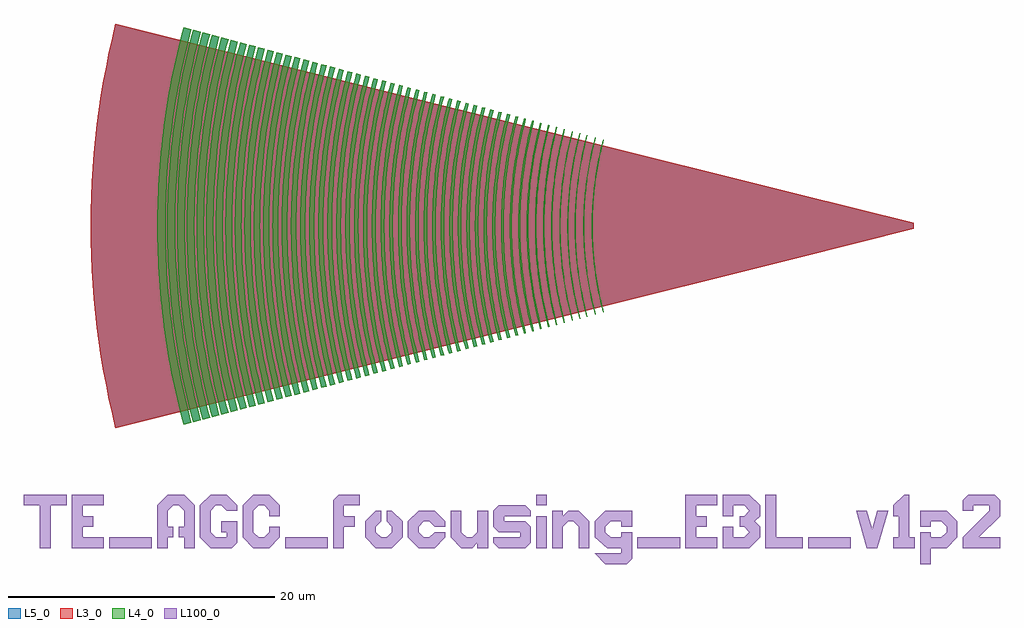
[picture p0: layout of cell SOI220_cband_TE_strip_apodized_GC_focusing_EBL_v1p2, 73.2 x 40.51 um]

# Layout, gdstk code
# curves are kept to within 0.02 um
import gdstk
lib = gdstk.Library(unit=1e-6, precision=1e-09)
def R(c, l, rs):  # rectangles x0, y0, x1, y1
    for r in rs: c.add(gdstk.rectangle(r[:2], r[2:], *l))
def P(c, l, *ps):  # polygons
    for p in ps: c.add(gdstk.Polygon(p, *l))
L3_0 = (3, 0)
L4_0 = (4, 0)
L5_0 = (5, 0)
L100_0 = (100, 0)

text_gdsfactorypcomponen = lib.new_cell('text_gdsfactorypcomponentsptextsptext_TTE_AGC_focusing__83cf41a3')
R(text_gdsfactorypcomponen, L100_0, [(6.8,0,10,0.8), (20,0,23.2,0.8), (38.8,0,39.6,2.4), (46.4,0,49.6,0.8), (59.2,0,62.4,0.8), (38.8,3.2,39.6,4)])
P(text_gdsfactorypcomponen, L100_0, [(26.8,0),(26,0.8),(26,2),(26.8,2.8),(27.2,2.8),(27.2,2),(26.8,1.6),(26.8,1.2),(27.2,0.8),(27.6,0.8),(28,1.2),(28,1.6),(27.6,2),(27.6,2.8),(28,2.8),(28.8,2),(28.8,0.8),(28,0)],
  [(30,0),(29.2,0.8),(29.2,2),(30,2.8),(31.2,2.8),(32,2),(32,1.6),(31.2,1.6),(30.8,2),(30.4,2),(30,1.6),(30,1.2),(30.4,0.8),(30.8,0.8),(31.2,1.2),(32,1.2),(32,0.8),(31.2,0)],
  [(33.2,0),(32.4,0.8),(32.4,2.8),(33.2,2.8),(33.2,1.2),(33.6,0.8),(34,0.8),(34.4,1.2),(34.4,2.8),(35.2,2.8),(35.2,0),(34.4,0),(34.4,0.4),(34,0)],
  [(40,0),(40,2.8),(40.8,2.8),(40.8,2.4),(41.2,2.8),(42,2.8),(42.8,2),(42.8,0),(42,0),(42,1.6),(41.6,2),(41.2,2),(40.8,1.6),(40.8,0)],
  [(44,-1.2),(43.2,-0.4),(45.2,-0.4),(45.2,0),(44.136,0),(43.2,0.8),(43.2,2),(44,2.8),(46,2.8),(46,1.6),(45.2,1.6),(45.2,2),(44.4,2),(44,1.6),(44,1.2),(44.4,0.8),(45.2,0.8),(45.2,1.2),(46,1.2),(46,-0.8),(45.6,-1.2)],
  [(63.6,0),(62.8,2.8),(63.6,2.8),(64,1.4),(64.4,2.8),(65.2,2.8),(64.4,0)],
  [(67.6,-1.2),(67.6,1.2),(68.4,1.2),(68.4,0.8),(69.2,0.8),(69.6,1.2),(69.6,1.6),(69.2,2),(68.4,2),(68.4,1.6),(67.6,1.6),(67.6,2.8),(69.6,2.8),(70.4,2),(70.4,0.8),(69.6,0),(68.4,0),(68.4,-1.2)],
  [(36,0),(35.6,0.4),(35.6,0.8),(37.6,0.8),(37.6,1.2),(36,1.2),(35.6,1.6),(35.6,2.8),(36,3.2),(38,3.2),(38.4,2.8),(38.4,2.4),(36.4,2.4),(36.4,2),(38,2),(38.4,1.6),(38.4,0.4),(38,0)],
  [(1.6,0),(1.6,3.2),(0.4,3.2),(0.4,4),(3.6,4),(3.6,3.2),(2.4,3.2),(2.4,0)],
  [(4,0),(4,4),(6.4,4),(6.4,3.2),(4.8,3.2),(4.8,2.4),(5.6,2.4),(5.6,1.6),(4.8,1.6),(4.8,0.8),(6.4,0.8),(6.4,0)],
  [(10.396,0),(10.4,3.2),(11.2,4),(12.404,4),(13.2,3.2),(13.2,0),(12.404,0),(12.404,0.8),(12,0.8),(12,1.6),(12.404,1.6),(12.404,2.8),(12,3.2),(11.6,3.2),(11.2,2.8),(11.2,1.6),(11.6,1.6),(11.6,0.8),(11.2,0.8),(11.2,0)],
  [(14.4,0),(13.6,0.8),(13.6,3.2),(14.4,4),(15.6,4),(16.4,3.2),(16.4,2.8),(15.6,2.8),(15.2,3.2),(14.8,3.2),(14.4,2.8),(14.4,1.2),(14.8,0.8),(15.6,0.8),(15.6,1.2),(15.2,1.2),(15.2,2),(16.4,2),(16.4,0.4),(16,0)],
  [(17.6,0),(16.8,0.8),(16.8,3.2),(17.6,4),(18.8,4),(19.6,3.2),(19.6,2.4),(18.8,2.4),(18.8,2.8),(18.4,3.2),(18,3.2),(17.6,2.8),(17.6,1.2),(18,0.8),(18.4,0.8),(18.8,1.2),(18.8,1.6),(19.6,1.6),(19.6,0.8),(18.8,0)],
  [(23.6,0),(23.6,3.6),(24,4),(25.6,4),(25.6,3.2),(24.4,3.2),(24.4,2.4),(25.2,2.4),(25.2,1.6),(24.4,1.6),(24.4,0)],
  [(50,0),(50,4),(52.4,4),(52.4,3.2),(50.8,3.2),(50.8,2.4),(51.6,2.4),(51.6,1.6),(50.8,1.6),(50.8,0.8),(52.4,0.8),(52.4,0)],
  [(52.8,0),(52.8,1.6),(53.6,1.6),(53.6,0.8),(54.4,0.8),(54.8,1.2),(54.4,1.6),(54.08,1.6),(54.08,2.4),(54.4,2.4),(54.8,2.8),(54.4,3.2),(53.6,3.2),(53.6,2.4),(52.8,2.4),(52.8,4),(54.8,4),(55.6,3.2),(55.6,2.4),(55.2,2),(55.6,1.6),(55.6,0.8),(54.8,0)],
  [(56,0),(56,4),(56.8,4),(56.8,0.8),(58.8,0.8),(58.8,0)],
  [(65.6,0),(65.6,0.8),(66,0.8),(66,2.4),(65.6,2.4),(65.6,3.2),(66.4,4),(66.8,4),(66.8,0.8),(67.2,0.8),(67.2,0)],
  [(70.8,0),(70.8,0.8),(72.8,2.8),(72.8,3.2),(71.6,3.2),(71.6,2.8),(70.8,2.8),(70.8,3.6),(71.2,4),(73.2,4),(73.6,3.6),(73.6,2.4),(72,0.8),(73.6,0.8),(73.6,0)])

soi220_cband_te_strip_ap = lib.new_cell('SOI220_cband_TE_strip_apodized_GC_focusing_EBL_v1p2')
P(soi220_cband_te_strip_ap, L3_0, [(-59.878,-15.154),(-60.588,-11.952),(-60.968,-9.799),(-61.272,-7.634),(-61.501,-5.46),(-61.653,-3.278),(-61.739,0),(-61.653,3.278),(-61.501,5.46),(-61.272,7.634),(-60.968,9.799),(-60.588,11.952),(-59.878,15.154),(0,0.225),(0,-0.225)])
P(soi220_cband_te_strip_ap, L4_0, [(-23.304,-6.485),(-23.515,-5.637),(-23.698,-4.781),(-23.849,-3.92),(-23.972,-3.054),(-24.063,-2.184),(-24.111,-1.53),(-24.143,-0.874),(-24.158,0),(-24.143,0.874),(-24.111,1.53),(-24.063,2.184),(-23.972,3.054),(-23.849,3.92),(-23.698,4.781),(-23.515,5.637),(-23.304,6.485),(-23.246,6.47),(-23.457,5.624),(-23.639,4.77),(-23.79,3.911),(-23.912,3.047),(-24.003,2.179),(-24.051,1.526),(-24.083,0.872),(-24.098,0),(-24.083,-0.872),(-24.051,-1.526),(-24.003,-2.179),(-23.912,-3.047),(-23.79,-3.911),(-23.639,-4.77),(-23.457,-5.624),(-23.246,-6.47)],
  [(-23.914,-6.649),(-24.13,-5.779),(-24.317,-4.903),(-24.472,-4.019),(-24.569,-3.354),(-24.649,-2.685),(-24.727,-1.792),(-24.773,-0.897),(-24.789,0),(-24.773,0.897),(-24.727,1.792),(-24.649,2.685),(-24.569,3.354),(-24.472,4.019),(-24.317,4.903),(-24.13,5.779),(-23.914,6.649),(-23.856,6.634),(-24.072,5.766),(-24.258,4.891),(-24.413,4.01),(-24.538,3.124),(-24.611,2.457),(-24.681,1.565),(-24.72,0.671),(-24.729,0),(-24.72,-0.671),(-24.681,-1.565),(-24.611,-2.457),(-24.538,-3.124),(-24.413,-4.01),(-24.258,-4.891),(-24.072,-5.766),(-23.856,-6.634)],
  [(-24.535,-6.815),(-24.704,-6.148),(-24.904,-5.25),(-25.071,-4.346),(-25.206,-3.437),(-25.288,-2.752),(-25.368,-1.837),(-25.416,-0.919),(-25.432,0),(-25.416,0.919),(-25.368,1.837),(-25.288,2.752),(-25.206,3.437),(-25.071,4.346),(-24.904,5.25),(-24.704,6.148),(-24.535,6.815),(-24.477,6.8),(-24.699,5.91),(-24.889,5.013),(-25.049,4.11),(-25.176,3.202),(-25.272,2.29),(-25.323,1.604),(-25.363,0.688),(-25.372,0),(-25.363,-0.688),(-25.323,-1.604),(-25.272,-2.29),(-25.176,-3.202),(-25.049,-4.11),(-24.889,-5.013),(-24.699,-5.91),(-24.477,-6.8)],
  [(-25.068,-6.958),(-25.347,-5.819),(-25.49,-5.131),(-25.653,-4.206),(-25.784,-3.276),(-25.882,-2.343),(-25.934,-1.642),(-25.968,-0.938),(-25.984,0),(-25.968,0.938),(-25.934,1.642),(-25.882,2.343),(-25.784,3.276),(-25.653,4.206),(-25.49,5.131),(-25.347,5.819),(-25.068,6.958),(-25.01,6.943),(-25.236,6.035),(-25.431,5.119),(-25.594,4.197),(-25.724,3.269),(-25.822,2.338),(-25.874,1.638),(-25.908,0.936),(-25.924,0),(-25.908,-0.936),(-25.874,-1.638),(-25.822,-2.338),(-25.724,-3.269),(-25.594,-4.197),(-25.431,-5.119),(-25.236,-6.035),(-25.01,-6.943)],
  [(-25.63,-7.109),(-25.807,-6.412),(-26.015,-5.476),(-26.189,-4.534),(-26.331,-3.585),(-26.44,-2.633),(-26.515,-1.677),(-26.557,-0.719),(-26.566,0),(-26.557,0.719),(-26.515,1.677),(-26.44,2.633),(-26.331,3.585),(-26.189,4.534),(-26.015,5.476),(-25.807,6.412),(-25.63,7.109),(-25.572,7.094),(-25.804,6.165),(-26.002,5.23),(-26.169,4.288),(-26.302,3.34),(-26.402,2.389),(-26.455,1.673),(-26.497,0.717),(-26.506,0),(-26.497,-0.717),(-26.455,-1.673),(-26.402,-2.389),(-26.302,-3.34),(-26.169,-4.288),(-26.002,-5.23),(-25.804,-6.165),(-25.572,-7.094)],
  [(-26.24,-7.272),(-26.477,-6.321),(-26.681,-5.362),(-26.812,-4.638),(-26.956,-3.667),(-27.068,-2.693),(-27.129,-1.96),(-27.18,-0.981),(-27.197,0),(-27.18,0.981),(-27.129,1.96),(-27.068,2.693),(-26.956,3.667),(-26.812,4.638),(-26.681,5.362),(-26.477,6.321),(-26.24,7.272),(-26.17,7.254),(-26.407,6.305),(-26.61,5.348),(-26.78,4.384),(-26.916,3.416),(-26.996,2.686),(-27.073,1.711),(-27.108,0.978),(-27.125,0),(-27.108,-0.978),(-27.073,-1.711),(-26.996,-2.686),(-26.916,-3.416),(-26.78,-4.384),(-26.61,-5.348),(-26.407,-6.305),(-26.17,-7.254)],
  [(-26.826,-7.429),(-27.069,-6.457),(-27.228,-5.723),(-27.411,-4.738),(-27.558,-3.747),(-27.672,-2.752),(-27.751,-1.753),(-27.787,-1.002),(-27.804,0),(-27.787,1.002),(-27.751,1.753),(-27.672,2.752),(-27.558,3.747),(-27.411,4.738),(-27.228,5.723),(-27.069,6.457),(-26.826,7.429),(-26.74,7.407),(-26.982,6.437),(-27.189,5.46),(-27.363,4.477),(-27.502,3.488),(-27.606,2.494),(-27.662,1.747),(-27.698,0.999),(-27.715,0),(-27.698,-0.999),(-27.662,-1.747),(-27.606,-2.494),(-27.502,-3.488),(-27.363,-4.477),(-27.189,-5.46),(-26.982,-6.437),(-26.74,-7.407)],
  [(-27.414,-7.587),(-27.662,-6.594),(-27.824,-5.845),(-28.011,-4.839),(-28.162,-3.826),(-28.278,-2.81),(-28.342,-2.045),(-28.395,-1.023),(-28.413,0),(-28.395,1.023),(-28.342,2.045),(-28.278,2.81),(-28.162,3.826),(-28.011,4.839),(-27.824,5.845),(-27.662,6.594),(-27.414,7.587),(-27.322,7.563),(-27.569,6.573),(-27.781,5.575),(-27.958,4.571),(-28.1,3.561),(-28.207,2.547),(-28.263,1.784),(-28.308,0.765),(-28.318,0),(-28.308,-0.765),(-28.263,-1.784),(-28.207,-2.547),(-28.1,-3.561),(-27.958,-4.571),(-27.781,-5.575),(-27.569,-6.573),(-27.322,-7.563)],
  [(-28.016,-7.748),(-28.209,-6.989),(-28.435,-5.969),(-28.625,-4.941),(-28.78,-3.908),(-28.872,-3.13),(-28.963,-2.088),(-29.018,-1.045),(-29.036,0),(-29.018,1.045),(-28.963,2.088),(-28.872,3.13),(-28.78,3.908),(-28.625,4.941),(-28.435,5.969),(-28.209,6.989),(-28.016,7.748),(-27.899,7.717),(-28.151,6.707),(-28.367,5.689),(-28.548,4.664),(-28.693,3.634),(-28.802,2.599),(-28.859,1.82),(-28.897,1.041),(-28.915,0),(-28.905,-0.781),(-28.859,-1.82),(-28.802,-2.599),(-28.693,-3.634),(-28.548,-4.664),(-28.367,-5.689),(-28.151,-6.707),(-27.899,-7.717)],
  [(-28.622,-7.911),(-28.88,-6.876),(-29.103,-5.832),(-29.403,-3.99),(-29.59,-2.132),(-29.645,-1.067),(-29.664,0),(-29.645,1.067),(-29.59,2.132),(-29.403,3.99),(-29.103,5.832),(-28.88,6.876),(-28.622,7.911),(-28.491,7.876),(-28.748,6.845),(-28.969,5.806),(-29.194,4.498),(-29.332,3.445),(-29.471,1.858),(-29.518,0.797),(-29.528,0),(-29.518,-0.797),(-29.471,-1.858),(-29.332,-3.445),(-29.194,-4.498),(-28.969,-5.806),(-28.748,-6.845),(-28.491,-7.876)],
  [(-29.239,-8.076),(-29.676,-6.221),(-29.874,-5.151),(-30.035,-4.073),(-30.158,-2.99),(-30.244,-1.905),(-30.302,0),(-30.244,1.905),(-30.158,2.99),(-30.035,4.073),(-29.874,5.151),(-29.676,6.221),(-29.239,8.076),(-29.095,8.038),(-29.417,6.722),(-29.633,5.659),(-29.812,4.59),(-29.953,3.516),(-30.095,1.896),(-30.153,0),(-30.095,-1.896),(-29.953,-3.516),(-29.812,-4.59),(-29.633,-5.659),(-29.417,-6.722),(-29.095,-8.038)],
  [(-29.867,-8.243),(-30.135,-7.166),(-30.367,-6.078),(-30.679,-4.157),(-30.875,-2.222),(-30.933,-1.111),(-30.952,0),(-30.933,1.111),(-30.875,2.222),(-30.679,4.157),(-30.367,6.078),(-30.135,7.166),(-29.867,8.243),(-29.686,8.196),(-29.953,7.124),(-30.235,5.771),(-30.457,4.407),(-30.592,3.31),(-30.722,1.657),(-30.765,0),(-30.722,-1.657),(-30.592,-3.31),(-30.457,-4.407),(-30.235,-5.771),(-29.953,-7.124),(-29.686,-8.196)],
  [(-30.511,-8.416),(-31.022,-6.205),(-31.341,-4.245),(-31.559,-1.985),(-31.619,0),(-31.559,1.985),(-31.341,4.245),(-31.022,6.205),(-30.511,8.416),(-30.287,8.357),(-30.794,6.161),(-31.111,4.215),(-31.327,1.971),(-31.387,0),(-31.327,-1.971),(-31.111,-4.215),(-30.794,-6.161),(-30.287,-8.357)],
  [(-31.137,-8.584),(-31.601,-6.612),(-31.812,-5.474),(-31.983,-4.33),(-32.206,-2.025),(-32.267,0),(-32.206,2.025),(-31.983,4.33),(-31.812,5.474),(-31.601,6.612),(-31.137,8.584),(-30.901,8.522),(-31.362,6.564),(-31.741,4.298),(-31.962,2.01),(-32.023,0),(-31.962,-2.01),(-31.741,-4.298),(-31.362,-6.564),(-30.901,-8.522)],
  [(-31.763,-8.752),(-32.237,-6.742),(-32.452,-5.582),(-32.627,-4.414),(-32.76,-3.242),(-32.853,-2.065),(-32.916,0),(-32.853,2.065),(-32.76,3.242),(-32.627,4.414),(-32.452,5.582),(-32.237,6.742),(-31.763,8.752),(-31.514,8.686),(-31.984,6.691),(-32.198,5.539),(-32.371,4.38),(-32.576,2.341),(-32.638,1.171),(-32.658,0),(-32.638,-1.171),(-32.576,-2.341),(-32.371,-4.38),(-32.198,-5.539),(-31.984,-6.691),(-31.514,-8.686)],
  [(-32.382,-8.917),(-32.864,-6.87),(-33.084,-5.687),(-33.261,-4.498),(-33.398,-3.303),(-33.492,-2.103),(-33.556,0),(-33.492,2.103),(-33.398,3.303),(-33.261,4.498),(-33.084,5.687),(-32.864,6.87),(-32.382,8.917),(-32.141,8.854),(-32.62,6.82),(-32.838,5.646),(-33.014,4.465),(-33.224,2.386),(-33.286,1.194),(-33.307,0),(-33.286,-1.194),(-33.224,-2.386),(-33.014,-4.465),(-32.838,-5.646),(-32.62,-6.82),(-32.141,-8.854)],
  [(-33,-9.083),(-33.297,-7.896),(-33.551,-6.697),(-33.896,-4.581),(-34.035,-3.364),(-34.131,-2.143),(-34.196,0),(-34.131,2.143),(-34.035,3.364),(-33.896,4.581),(-33.551,6.697),(-33.297,7.896),(-33,9.083),(-32.761,9.02),(-33.056,7.84),(-33.309,6.65),(-33.651,4.549),(-33.789,3.34),(-33.884,2.128),(-33.949,0),(-33.884,-2.128),(-33.789,-3.34),(-33.651,-4.549),(-33.309,-6.65),(-33.056,-7.84),(-32.761,-9.02)],
  [(-33.621,-9.249),(-34.121,-7.125),(-34.348,-5.899),(-34.532,-4.665),(-34.674,-3.425),(-34.772,-2.181),(-34.838,0),(-34.772,2.181),(-34.674,3.425),(-34.532,4.665),(-34.348,5.899),(-34.121,7.125),(-33.621,9.249),(-33.376,9.185),(-33.873,7.075),(-34.098,5.857),(-34.281,4.632),(-34.499,2.475),(-34.563,1.238),(-34.585,0),(-34.563,-1.238),(-34.499,-2.475),(-34.281,-4.632),(-34.098,-5.857),(-33.873,-7.075),(-33.376,-9.185)],
  [(-34.237,-9.414),(-34.544,-8.183),(-34.808,-6.942),(-35.165,-4.748),(-35.309,-3.487),(-35.409,-2.221),(-35.476,0),(-35.409,2.221),(-35.309,3.487),(-35.165,4.748),(-34.808,6.942),(-34.544,8.183),(-34.237,9.414),(-34,9.352),(-34.506,7.204),(-34.735,5.964),(-34.922,4.716),(-35.065,3.463),(-35.164,2.206),(-35.231,0),(-35.164,-2.206),(-35.065,-3.463),(-34.922,-4.716),(-34.735,-5.964),(-34.506,-7.204),(-34,-9.352)],
  [(-34.857,-9.58),(-35.375,-7.38),(-35.611,-6.11),(-35.801,-4.832),(-35.948,-3.548),(-36.049,-2.261),(-36.118,0),(-36.049,2.261),(-35.948,3.548),(-35.801,4.832),(-35.611,6.11),(-35.375,7.38),(-34.857,9.58),(-34.613,9.516),(-35.128,7.33),(-35.362,6.068),(-35.551,4.799),(-35.776,2.565),(-35.844,1.283),(-35.866,0),(-35.844,-1.283),(-35.776,-2.565),(-35.551,-4.799),(-35.362,-6.068),(-35.128,-7.33),(-34.613,-9.516)],
  [(-35.473,-9.745),(-36,-7.508),(-36.24,-6.215),(-36.434,-4.915),(-36.583,-3.61),(-36.686,-2.299),(-36.756,0),(-36.686,2.299),(-36.583,3.61),(-36.434,4.915),(-36.24,6.215),(-36,7.508),(-35.473,9.745),(-35.236,9.683),(-35.552,8.416),(-35.824,7.139),(-36.191,4.883),(-36.42,2.61),(-36.488,1.306),(-36.511,0),(-36.488,-1.306),(-36.42,-2.61),(-36.191,-4.883),(-35.824,-7.139),(-35.552,-8.416),(-35.236,-9.683)],
  [(-36.093,-9.912),(-36.629,-7.636),(-36.873,-6.321),(-37.07,-4.999),(-37.222,-3.67),(-37.327,-2.338),(-37.398,0),(-37.327,2.338),(-37.222,3.67),(-37.07,4.999),(-36.873,6.321),(-36.629,7.636),(-36.093,9.912),(-35.853,9.849),(-36.175,8.56),(-36.451,7.261),(-36.824,4.967),(-36.975,3.647),(-37.079,2.323),(-37.15,0),(-37.079,-2.323),(-36.975,-3.647),(-36.824,-4.967),(-36.451,-7.261),(-36.175,-8.56),(-35.853,-9.849)],
  [(-36.711,-10.077),(-37.04,-8.759),(-37.323,-7.43),(-37.705,-5.083),(-37.859,-3.732),(-37.966,-2.378),(-38.038,0),(-37.966,2.378),(-37.859,3.732),(-37.705,5.083),(-37.323,7.43),(-37.04,8.759),(-36.711,10.077),(-36.478,10.016),(-36.805,8.705),(-37.086,7.384),(-37.466,5.051),(-37.703,2.7),(-37.773,1.351),(-37.797,0),(-37.773,-1.351),(-37.703,-2.7),(-37.466,-5.051),(-37.086,-7.384),(-36.805,-8.705),(-36.478,-10.016)],
  [(-37.337,-10.244),(-37.892,-7.892),(-38.143,-6.534),(-38.348,-5.167),(-38.504,-3.794),(-38.613,-2.417),(-38.686,0),(-38.613,2.417),(-38.504,3.794),(-38.348,5.167),(-38.143,6.534),(-37.892,7.892),(-37.337,10.244),(-37.084,10.178),(-37.635,7.84),(-37.885,6.491),(-38.088,5.133),(-38.243,3.769),(-38.351,2.401),(-38.424,0),(-38.351,-2.401),(-38.243,-3.769),(-38.088,-5.133),(-37.885,-6.491),(-37.635,-7.84),(-37.084,-10.178)],
  [(-37.965,-10.413),(-38.528,-8.022),(-38.784,-6.641),(-38.992,-5.252),(-39.151,-3.857),(-39.261,-2.457),(-39.336,0),(-39.261,2.457),(-39.151,3.857),(-38.992,5.252),(-38.784,6.641),(-38.528,8.022),(-37.965,10.413),(-37.714,10.347),(-38.273,7.97),(-38.528,6.598),(-38.734,5.218),(-38.979,2.789),(-39.052,1.395),(-39.076,0),(-39.052,-1.395),(-38.979,-2.789),(-38.734,-5.218),(-38.528,-6.598),(-38.273,-7.97),(-37.714,-10.347)],
  [(-38.595,-10.582),(-38.94,-9.198),(-39.237,-7.803),(-39.639,-5.337),(-39.888,-2.852),(-39.963,-1.427),(-39.988,0),(-39.963,1.427),(-39.888,2.852),(-39.639,5.337),(-39.237,7.803),(-38.94,9.198),(-38.595,10.582),(-38.323,10.51),(-38.892,8.096),(-39.15,6.702),(-39.36,5.301),(-39.608,2.833),(-39.682,1.417),(-39.707,0),(-39.682,-1.417),(-39.608,-2.833),(-39.36,-5.301),(-39.15,-6.702),(-38.892,-8.096),(-38.323,-10.51)],
  [(-39.231,-10.753),(-39.583,-9.346),(-39.884,-7.928),(-40.292,-5.423),(-40.456,-3.982),(-40.569,-2.537),(-40.647,0),(-40.569,2.537),(-40.456,3.982),(-40.292,5.423),(-39.884,7.928),(-39.583,9.346),(-39.231,10.753),(-38.951,10.679),(-39.529,8.226),(-39.791,6.81),(-40.004,5.385),(-40.167,3.954),(-40.28,2.519),(-40.357,0),(-40.28,-2.519),(-40.167,-3.954),(-40.004,-5.385),(-39.791,-6.81),(-39.529,-8.226),(-38.951,-10.679)],
  [(-39.869,-10.923),(-40.46,-8.415),(-40.728,-6.966),(-40.945,-5.51),(-41.113,-4.046),(-41.204,-2.944),(-41.281,-1.473),(-41.307,0),(-41.281,1.473),(-41.204,2.944),(-41.113,4.046),(-40.945,5.51),(-40.728,6.966),(-40.46,8.415),(-39.869,10.923),(-39.576,10.846),(-40.163,8.355),(-40.429,6.916),(-40.645,5.47),(-40.811,4.017),(-40.926,2.558),(-41.004,0),(-40.926,-2.558),(-40.811,-4.017),(-40.645,-5.47),(-40.429,-6.916),(-40.163,-8.355),(-39.576,-10.846)],
  [(-40.512,-11.095),(-41.112,-8.548),(-41.384,-7.076),(-41.605,-5.596),(-41.775,-4.109),(-41.892,-2.618),(-41.972,0),(-41.892,2.618),(-41.775,4.109),(-41.605,5.596),(-41.384,7.076),(-41.112,8.548),(-40.512,11.095),(-40.206,11.015),(-40.802,8.485),(-41.072,7.024),(-41.292,5.555),(-41.46,4.079),(-41.577,2.598),(-41.656,0),(-41.577,-2.598),(-41.46,-4.079),(-41.292,-5.555),(-41.072,-7.024),(-40.802,-8.485),(-40.206,-11.015)],
  [(-41.157,-11.268),(-41.524,-9.795),(-41.84,-8.309),(-42.104,-6.811),(-42.267,-5.684),(-42.534,-3.037),(-42.614,-1.519),(-42.64,0),(-42.614,1.519),(-42.534,3.037),(-42.267,5.684),(-42.104,6.811),(-41.84,8.309),(-41.524,9.795),(-41.157,11.268),(-40.84,11.185),(-41.204,9.721),(-41.518,8.246),(-41.942,5.641),(-42.207,3.014),(-42.286,1.508),(-42.312,0),(-42.286,-1.508),(-42.207,-3.014),(-41.942,-5.641),(-41.518,-8.246),(-41.204,-9.721),(-40.84,-11.185)],
  [(-41.805,-11.442),(-42.178,-9.946),(-42.499,-8.436),(-42.767,-6.916),(-42.933,-5.771),(-43.069,-4.622),(-43.203,-3.084),(-43.284,-1.543),(-43.311,0),(-43.284,1.543),(-43.203,3.084),(-43.069,4.622),(-42.933,5.771),(-42.767,6.916),(-42.499,8.436),(-42.178,9.946),(-41.805,11.442),(-41.475,11.355),(-41.846,9.869),(-42.164,8.371),(-42.43,6.863),(-42.595,5.726),(-42.73,4.586),(-42.863,3.06),(-42.943,1.531),(-42.97,0),(-42.943,-1.531),(-42.863,-3.06),(-42.73,-4.586),(-42.595,-5.726),(-42.43,-6.863),(-42.164,-8.371),(-41.846,-9.869),(-41.475,-11.355)],
  [(-42.456,-11.616),(-42.835,-10.097),(-43.161,-8.564),(-43.433,-7.022),(-43.601,-5.859),(-43.739,-4.692),(-43.876,-3.131),(-43.958,-1.566),(-43.985,0),(-43.958,1.566),(-43.876,3.131),(-43.739,4.692),(-43.601,5.859),(-43.433,7.022),(-43.161,8.564),(-42.835,10.097),(-42.456,11.616),(-42.114,11.526),(-42.49,10.018),(-42.813,8.497),(-43.083,6.966),(-43.25,5.813),(-43.387,4.655),(-43.523,3.106),(-43.604,1.554),(-43.631,0),(-43.604,-1.554),(-43.523,-3.106),(-43.387,-4.655),(-43.25,-5.813),(-43.083,-6.966),(-42.813,-8.497),(-42.49,-10.018),(-42.114,-11.526)],
  [(-43.11,-11.791),(-43.495,-10.25),(-43.748,-9.084),(-44.037,-7.521),(-44.272,-5.948),(-44.452,-4.367),(-44.551,-3.179),(-44.634,-1.59),(-44.662,0),(-44.634,1.59),(-44.551,3.179),(-44.452,4.367),(-44.272,5.948),(-44.037,7.521),(-43.748,9.084),(-43.495,10.25),(-43.11,11.791),(-42.756,11.698),(-43.138,10.167),(-43.466,8.624),(-43.74,7.071),(-43.909,5.9),(-44.088,4.332),(-44.212,2.759),(-44.281,1.183),(-44.296,0),(-44.281,-1.183),(-44.212,-2.759),(-44.088,-4.332),(-43.909,-5.9),(-43.74,-7.071),(-43.466,-8.624),(-43.138,-10.167),(-42.756,-11.698)],
  [(-43.767,-11.968),(-44.157,-10.403),(-44.493,-8.824),(-44.709,-7.632),(-44.948,-6.036),(-45.09,-4.834),(-45.23,-3.225),(-45.315,-1.614),(-45.343,0),(-45.315,1.614),(-45.23,3.225),(-45.09,4.834),(-44.948,6.036),(-44.709,7.632),(-44.493,8.824),(-44.157,10.403),(-43.767,11.968),(-43.401,11.871),(-43.697,10.707),(-44.043,9.144),(-44.335,7.57),(-44.572,5.987),(-44.753,4.396),(-44.852,3.199),(-44.936,1.601),(-44.964,0),(-44.936,-1.601),(-44.852,-3.199),(-44.753,-4.396),(-44.572,-5.987),(-44.335,-7.57),(-44.043,-9.144),(-43.697,-10.707),(-43.401,-11.871)],
  [(-44.429,-12.146),(-44.825,-10.557),(-45.166,-8.955),(-45.385,-7.746),(-45.627,-6.125),(-45.812,-4.498),(-45.914,-3.273),(-46,-1.638),(-46.028,0),(-46,1.638),(-45.914,3.273),(-45.812,4.498),(-45.627,6.125),(-45.385,7.746),(-45.166,8.955),(-44.825,10.557),(-44.429,12.146),(-44.049,12.045),(-44.349,10.864),(-44.701,9.278),(-44.997,7.681),(-45.237,6.074),(-45.421,4.46),(-45.522,3.246),(-45.607,1.624),(-45.635,0),(-45.607,-1.624),(-45.522,-3.246),(-45.421,-4.46),(-45.237,-6.074),(-44.997,-7.681),(-44.701,-9.278),(-44.349,-10.864),(-44.049,-12.045)],
  [(-45.094,-12.323),(-45.496,-10.711),(-45.842,-9.085),(-46.13,-7.449),(-46.309,-6.215),(-46.497,-4.564),(-46.6,-3.322),(-46.687,-1.662),(-46.716,0),(-46.687,1.662),(-46.6,3.322),(-46.497,4.564),(-46.309,6.215),(-46.13,7.449),(-45.842,9.085),(-45.496,10.711),(-45.094,12.323),(-44.701,12.219),(-45.1,10.62),(-45.443,9.008),(-45.663,7.792),(-45.906,6.162),(-46.093,4.525),(-46.222,2.882),(-46.294,1.236),(-46.31,0),(-46.294,-1.236),(-46.222,-2.882),(-46.093,-4.525),(-45.906,-6.162),(-45.663,-7.792),(-45.443,-9.008),(-45.1,-10.62),(-44.701,-12.219)],
  [(-45.761,-12.502),(-46.169,-10.867),(-46.438,-9.632),(-46.744,-7.973),(-46.993,-6.306),(-47.185,-4.63),(-47.317,-2.95),(-47.391,-1.265),(-47.407,0),(-47.391,1.265),(-47.317,2.95),(-47.185,4.63),(-46.993,6.306),(-46.744,7.973),(-46.438,9.632),(-46.169,10.867),(-45.761,12.502),(-45.356,12.395),(-45.761,10.773),(-46.027,9.548),(-46.331,7.904),(-46.578,6.251),(-46.768,4.59),(-46.899,2.924),(-46.972,1.254),(-46.988,0),(-46.972,-1.254),(-46.899,-2.924),(-46.768,-4.59),(-46.578,-6.251),(-46.331,-7.904),(-46.027,-9.548),(-45.761,-10.773),(-45.356,-12.395)],
  [(-46.433,-12.681),(-46.846,-11.024),(-47.202,-9.351),(-47.499,-7.665),(-47.682,-6.397),(-47.834,-5.122),(-47.983,-3.418),(-48.072,-1.71),(-48.102,0),(-48.072,1.71),(-47.983,3.418),(-47.834,5.122),(-47.682,6.397),(-47.499,7.665),(-47.202,9.351),(-46.846,11.024),(-46.433,12.681),(-46.014,12.571),(-46.424,10.926),(-46.777,9.268),(-47.003,8.017),(-47.253,6.34),(-47.403,5.077),(-47.551,3.388),(-47.639,1.695),(-47.669,0),(-47.639,-1.695),(-47.551,-3.388),(-47.403,-5.077),(-47.253,-6.34),(-47.003,-8.017),(-46.777,-9.268),(-46.424,-10.926),(-46.014,-12.571)],
  [(-47.107,-12.861),(-47.527,-11.18),(-47.887,-9.483),(-48.188,-7.775),(-48.375,-6.487),(-48.528,-5.196),(-48.679,-3.467),(-48.77,-1.735),(-48.8,0),(-48.77,1.735),(-48.679,3.467),(-48.528,5.196),(-48.375,6.487),(-48.188,7.775),(-47.887,9.483),(-47.527,11.18),(-47.107,12.861),(-46.675,12.748),(-47.091,11.08),(-47.448,9.398),(-47.747,7.705),(-47.932,6.429),(-48.083,5.149),(-48.233,3.436),(-48.323,1.719),(-48.353,0),(-48.323,-1.719),(-48.233,-3.436),(-48.083,-5.149),(-47.932,-6.429),(-47.747,-7.705),(-47.448,-9.398),(-47.091,-11.08),(-46.675,-12.748)],
  [(-47.785,-13.044),(-48.21,-11.339),(-48.49,-10.049),(-48.811,-8.319),(-49.071,-6.579),(-49.27,-4.831),(-49.408,-3.078),(-49.472,-1.759),(-49.502,0),(-49.472,1.759),(-49.408,3.078),(-49.27,4.831),(-49.071,6.579),(-48.811,8.319),(-48.49,10.049),(-48.21,11.339),(-47.785,13.044),(-47.339,12.926),(-47.761,11.235),(-48.123,9.53),(-48.356,8.243),(-48.614,6.519),(-48.811,4.787),(-48.948,3.049),(-49.011,1.743),(-49.041,0),(-49.011,-1.743),(-48.948,-3.049),(-48.811,-4.787),(-48.614,-6.519),(-48.356,-8.243),(-48.123,-9.53),(-47.761,-11.235),(-47.339,-12.926)],
  [(-48.467,-13.226),(-48.796,-11.931),(-49.182,-10.19),(-49.507,-8.436),(-49.771,-6.671),(-49.973,-4.898),(-50.084,-3.565),(-50.177,-1.784),(-50.208,0),(-50.177,1.784),(-50.084,3.565),(-49.973,4.898),(-49.771,6.671),(-49.507,8.436),(-49.182,10.19),(-48.796,11.931),(-48.467,13.226),(-48.007,13.105),(-48.333,11.82),(-48.716,10.095),(-49.038,8.357),(-49.299,6.609),(-49.499,4.853),(-49.638,3.091),(-49.715,1.325),(-49.732,0),(-49.715,-1.325),(-49.638,-3.091),(-49.499,-4.853),(-49.299,-6.609),(-49.038,-8.357),(-48.716,-10.095),(-48.333,-11.82),(-48.007,-13.105)],
  [(-49.153,-13.41),(-49.486,-12.098),(-49.878,-10.331),(-50.207,-8.553),(-50.475,-6.764),(-50.68,-4.967),(-50.792,-3.615),(-50.887,-1.808),(-50.918,0),(-50.887,1.808),(-50.792,3.615),(-50.68,4.967),(-50.475,6.764),(-50.207,8.553),(-49.878,10.331),(-49.486,12.098),(-49.153,13.41),(-48.678,13.285),(-49.009,11.983),(-49.397,10.233),(-49.723,8.472),(-49.988,6.7),(-50.191,4.92),(-50.302,3.581),(-50.396,1.791),(-50.427,0),(-50.396,-1.791),(-50.302,-3.581),(-50.191,-4.92),(-49.988,-6.7),(-49.723,-8.472),(-49.397,-10.233),(-49.009,-11.983),(-48.678,-13.285)],
  [(-49.841,-13.595),(-50.285,-11.818),(-50.577,-10.474),(-50.91,-8.67),(-51.182,-6.857),(-51.389,-5.035),(-51.533,-3.207),(-51.599,-1.834),(-51.631,0),(-51.599,1.834),(-51.533,3.207),(-51.389,5.035),(-51.182,6.857),(-50.91,8.67),(-50.577,10.474),(-50.285,11.818),(-49.841,13.595),(-49.353,13.466),(-49.793,11.704),(-50.082,10.373),(-50.412,8.587),(-50.681,6.791),(-50.886,4.987),(-51.029,3.176),(-51.108,1.362),(-51.126,0),(-51.108,-1.362),(-51.029,-3.176),(-50.886,-4.987),(-50.681,-6.791),(-50.412,-8.587),(-50.082,-10.373),(-49.793,-11.704),(-49.353,-13.466)],
  [(-50.534,-13.78),(-50.984,-11.979),(-51.279,-10.616),(-51.618,-8.789),(-51.893,-6.951),(-52.103,-5.104),(-52.219,-3.715),(-52.316,-1.858),(-52.348,0),(-52.316,1.858),(-52.219,3.715),(-52.103,5.104),(-51.893,6.951),(-51.618,8.789),(-51.279,10.616),(-50.984,11.979),(-50.534,13.78),(-50.031,13.648),(-50.477,11.862),(-50.859,10.061),(-51.105,8.703),(-51.377,6.883),(-51.539,5.512),(-51.7,3.678),(-51.796,1.84),(-51.828,0),(-51.796,-1.84),(-51.7,-3.678),(-51.539,-5.512),(-51.377,-6.883),(-51.179,-8.249),(-50.859,-10.061),(-50.477,-11.862),(-50.031,-13.648)],
  [(-51.231,-13.967),(-51.686,-12.14),(-52.078,-10.298),(-52.33,-8.907),(-52.608,-7.045),(-52.822,-5.174),(-52.939,-3.765),(-53.037,-1.884),(-53.07,0),(-53.037,1.884),(-52.939,3.765),(-52.822,5.174),(-52.608,7.045),(-52.33,8.907),(-52.078,10.298),(-51.686,12.14),(-51.231,13.967),(-50.713,13.83),(-51.164,12.02),(-51.552,10.196),(-51.876,8.359),(-52.077,6.975),(-52.288,5.122),(-52.404,3.728),(-52.501,1.865),(-52.534,0),(-52.501,-1.865),(-52.404,-3.728),(-52.288,-5.122),(-52.077,-6.975),(-51.876,-8.359),(-51.552,-10.196),(-51.164,-12.02),(-50.713,-13.83)],
  [(-51.932,-14.154),(-52.284,-12.768),(-52.697,-10.905),(-53.044,-9.028),(-53.327,-7.139),(-53.543,-5.243),(-53.662,-3.816),(-53.762,-1.909),(-53.795,0),(-53.762,1.909),(-53.662,3.816),(-53.543,5.243),(-53.327,7.139),(-53.044,9.028),(-52.697,10.905),(-52.284,12.768),(-51.932,14.154),(-51.399,14.014),(-51.748,12.64),(-52.157,10.795),(-52.501,8.937),(-52.781,7.067),(-52.995,5.19),(-53.143,3.306),(-53.211,1.89),(-53.244,0),(-53.211,-1.89),(-53.143,-3.306),(-52.995,-5.19),(-52.781,-7.067),(-52.501,-8.937),(-52.157,-10.795),(-51.748,-12.64),(-51.399,-14.014)],
  [(-52.637,-14.343),(-53.104,-12.469),(-53.413,-11.05),(-53.765,-9.149),(-54.051,-7.235),(-54.269,-5.312),(-54.422,-3.384),(-54.492,-1.935),(-54.525,0),(-54.492,1.935),(-54.422,3.384),(-54.269,5.312),(-54.051,7.235),(-53.765,9.149),(-53.413,11.05),(-53.104,12.469),(-52.637,14.343),(-52.089,14.199),(-52.552,12.341),(-52.857,10.937),(-53.206,9.055),(-53.489,7.161),(-53.705,5.258),(-53.856,3.349),(-53.925,1.915),(-53.958,0),(-53.925,-1.915),(-53.856,-3.349),(-53.705,-5.258),(-53.489,-7.161),(-53.206,-9.055),(-52.857,-10.937),(-52.552,-12.341),(-52.089,-14.199)],
  [(-53.346,-14.534),(-53.82,-12.634),(-54.227,-10.716),(-54.568,-8.785),(-54.779,-7.33),(-54.952,-5.87),(-55.123,-3.917),(-55.225,-1.96),(-55.259,0),(-55.225,1.96),(-55.123,3.917),(-54.952,5.87),(-54.779,7.33),(-54.568,8.785),(-54.227,10.716),(-53.82,12.634),(-53.346,14.534),(-52.782,14.385),(-53.252,12.502),(-53.655,10.605),(-53.914,9.173),(-54.201,7.254),(-54.372,5.809),(-54.541,3.877),(-54.642,1.94),(-54.676,0),(-54.642,-1.94),(-54.541,-3.877),(-54.372,-5.809),(-54.201,-7.254),(-53.914,-9.173),(-53.655,-10.605),(-53.252,-12.502),(-52.782,-14.385)],
  [(-54.059,-14.724),(-54.539,-12.8),(-54.952,-10.857),(-55.297,-8.901),(-55.51,-7.427),(-55.686,-5.948),(-55.859,-3.969),(-55.963,-1.986),(-55.997,0),(-55.963,1.986),(-55.859,3.969),(-55.686,5.948),(-55.51,7.427),(-55.297,8.901),(-54.952,10.857),(-54.539,12.8),(-54.059,14.724),(-53.48,14.572),(-53.955,12.665),(-54.364,10.743),(-54.705,8.807),(-54.916,7.349),(-55.09,5.885),(-55.261,3.927),(-55.364,1.965),(-55.398,0),(-55.364,-1.965),(-55.261,-3.927),(-55.09,-5.885),(-54.916,-7.349),(-54.705,-8.807),(-54.364,-10.743),(-53.955,-12.665),(-53.48,-14.572)],
  [(-54.776,-14.916),(-55.146,-13.456),(-55.582,-11.492),(-55.949,-9.514),(-56.246,-7.524),(-56.473,-5.525),(-56.632,-3.519),(-56.704,-2.011),(-56.739,0),(-56.704,2.011),(-56.632,3.519),(-56.473,5.525),(-56.246,7.524),(-55.949,9.514),(-55.582,11.492),(-55.146,13.456),(-54.776,14.916),(-54.18,14.759),(-54.661,12.828),(-54.978,11.369),(-55.341,9.412),(-55.635,7.443),(-55.86,5.466),(-56.017,3.481),(-56.088,1.99),(-56.123,0),(-56.088,-1.99),(-56.017,-3.481),(-55.86,-5.466),(-55.635,-7.443),(-55.341,-9.412),(-54.978,-11.369),(-54.661,-12.828),(-54.18,-14.759)])
P(soi220_cband_te_strip_ap, L5_0, [(-59.878,-15.154),(-60.588,-11.952),(-60.968,-9.799),(-61.272,-7.634),(-61.501,-5.46),(-61.653,-3.278),(-61.739,0),(-61.653,3.278),(-61.501,5.46),(-61.272,7.634),(-60.968,9.799),(-60.588,11.952),(-59.878,15.154),(-55.027,13.945),(-54.776,14.916),(-54.18,14.759),(-54.429,13.795),(-54.307,13.765),(-54.059,14.724),(-53.48,14.572),(-53.726,13.62),(-53.591,13.587),(-53.346,14.534),(-52.782,14.385),(-53.025,13.445),(-52.878,13.409),(-52.637,14.343),(-52.089,14.199),(-52.328,13.272),(-52.171,13.233),(-51.932,14.154),(-51.399,14.014),(-51.636,13.099),(-51.467,13.057),(-51.231,13.967),(-50.713,13.83),(-50.947,12.927),(-50.767,12.882),(-50.534,13.78),(-50.031,13.648),(-50.262,12.756),(-50.071,12.709),(-49.841,13.595),(-49.353,13.466),(-49.581,12.587),(-49.378,12.536),(-49.153,13.41),(-48.678,13.285),(-48.902,12.417),(-48.69,12.364),(-48.467,13.226),(-48.007,13.105),(-48.228,12.249),(-48.004,12.194),(-47.785,13.044),(-47.339,12.926),(-47.557,12.082),(-47.324,12.024),(-47.107,12.861),(-46.675,12.748),(-46.89,11.916),(-46.646,11.855),(-46.433,12.681),(-46.014,12.571),(-46.226,11.75),(-45.972,11.687),(-45.761,12.502),(-45.356,12.395),(-45.565,11.585),(-45.302,11.52),(-45.094,12.323),(-44.701,12.219),(-44.908,11.422),(-44.634,11.353),(-44.429,12.146),(-44.049,12.045),(-44.253,11.258),(-43.97,11.188),(-43.767,11.968),(-43.401,11.871),(-43.602,11.096),(-43.308,11.023),(-43.11,11.791),(-42.756,11.698),(-42.953,10.934),(-42.651,10.859),(-42.456,11.616),(-42.114,11.526),(-42.308,10.773),(-41.998,10.696),(-41.805,11.442),(-41.475,11.355),(-41.667,10.613),(-41.346,10.533),(-41.157,11.268),(-40.84,11.185),(-41.028,10.454),(-40.699,10.372),(-40.512,11.095),(-40.206,11.015),(-40.392,10.296),(-40.053,10.211),(-39.869,10.923),(-39.576,10.846),(-39.759,10.138),(-39.412,10.051),(-39.231,10.753),(-38.951,10.679),(-39.131,9.981),(-38.774,9.892),(-38.595,10.582),(-38.323,10.51),(-38.501,9.824),(-38.14,9.734),(-37.965,10.413),(-37.714,10.347),(-37.888,9.671),(-37.51,9.577),(-37.337,10.244),(-37.084,10.178),(-37.256,9.514),(-36.881,9.42),(-36.711,10.077),(-36.478,10.016),(-36.647,9.362),(-36.261,9.266),(-36.093,9.912),(-35.853,9.849),(-36.02,9.206),(-35.638,9.11),(-35.473,9.745),(-35.236,9.683),(-35.4,9.051),(-35.019,8.956),(-34.857,9.58),(-34.613,9.516),(-34.774,8.895),(-34.396,8.801),(-34.237,9.414),(-34,9.352),(-34.158,8.741),(-33.777,8.646),(-33.621,9.249),(-33.376,9.185),(-33.531,8.585),(-33.154,8.491),(-33,9.083),(-32.761,9.02),(-32.914,8.431),(-32.533,8.336),(-32.382,8.917),(-32.141,8.854),(-32.291,8.276),(-31.911,8.181),(-31.763,8.752),(-31.514,8.686),(-31.661,8.119),(-31.282,8.024),(-31.137,8.584),(-30.901,8.522),(-31.045,7.965),(-30.653,7.867),(-30.511,8.416),(-30.287,8.357),(-30.428,7.811),(-30.005,7.706),(-29.867,8.243),(-29.686,8.196),(-29.824,7.661),(-29.376,7.549),(-29.239,8.076),(-29.095,8.038),(-29.231,7.513),(-28.756,7.394),(-28.622,7.911),(-28.491,7.876),(-28.624,7.361),(-28.146,7.242),(-28.016,7.748),(-27.899,7.717),(-28.029,7.213),(-27.542,7.092),(-27.414,7.587),(-27.322,7.563),(-27.45,7.069),(-26.951,6.944),(-26.826,7.429),(-26.74,7.407),(-26.865,6.923),(-26.362,6.798),(-26.24,7.272),(-26.17,7.254),(-26.292,6.78),(-25.75,6.645),(-25.63,7.109),(-25.572,7.094),(-25.692,6.63),(-25.185,6.504),(-25.068,6.958),(-25.01,6.943),(-25.127,6.49),(-24.65,6.371),(-24.535,6.815),(-24.477,6.8),(-24.592,6.356),(-24.026,6.215),(-23.914,6.649),(-23.856,6.634),(-23.968,6.201),(-23.413,6.062),(-23.304,6.485),(-23.246,6.47),(-23.355,6.048),(0,0.225),(0,-0.225),(-23.355,-6.048),(-23.246,-6.47),(-23.304,-6.485),(-23.413,-6.062),(-23.968,-6.201),(-23.856,-6.634),(-23.914,-6.649),(-24.026,-6.215),(-24.592,-6.356),(-24.477,-6.8),(-24.535,-6.815),(-24.65,-6.371),(-25.127,-6.49),(-25.01,-6.943),(-25.068,-6.958),(-25.185,-6.504),(-25.692,-6.63),(-25.572,-7.094),(-25.63,-7.109),(-25.75,-6.645),(-26.292,-6.78),(-26.17,-7.254),(-26.24,-7.272),(-26.362,-6.798),(-26.865,-6.923),(-26.74,-7.407),(-26.826,-7.429),(-26.951,-6.944),(-27.45,-7.069),(-27.322,-7.563),(-27.414,-7.587),(-27.542,-7.092),(-28.029,-7.213),(-27.899,-7.717),(-28.016,-7.748),(-28.146,-7.242),(-28.624,-7.361),(-28.491,-7.876),(-28.622,-7.911),(-28.756,-7.394),(-29.231,-7.513),(-29.095,-8.038),(-29.239,-8.076),(-29.376,-7.549),(-29.824,-7.661),(-29.686,-8.196),(-29.867,-8.243),(-30.005,-7.706),(-30.428,-7.811),(-30.287,-8.357),(-30.511,-8.416),(-30.653,-7.867),(-31.045,-7.965),(-30.901,-8.522),(-31.137,-8.584),(-31.282,-8.024),(-31.661,-8.119),(-31.514,-8.686),(-31.763,-8.752),(-31.911,-8.181),(-32.291,-8.276),(-32.141,-8.854),(-32.382,-8.917),(-32.533,-8.336),(-32.914,-8.431),(-32.761,-9.02),(-33,-9.083),(-33.154,-8.491),(-33.531,-8.585),(-33.376,-9.185),(-33.621,-9.249),(-33.777,-8.646),(-34.158,-8.741),(-34,-9.352),(-34.237,-9.414),(-34.396,-8.801),(-34.774,-8.895),(-34.613,-9.516),(-34.857,-9.58),(-35.019,-8.956),(-35.4,-9.051),(-35.236,-9.683),(-35.473,-9.745),(-35.638,-9.11),(-36.02,-9.206),(-35.853,-9.849),(-36.093,-9.912),(-36.261,-9.266),(-36.647,-9.362),(-36.478,-10.016),(-36.711,-10.077),(-36.881,-9.42),(-37.256,-9.514),(-37.084,-10.178),(-37.337,-10.244),(-37.51,-9.577),(-37.888,-9.671),(-37.714,-10.347),(-37.965,-10.413),(-38.14,-9.734),(-38.501,-9.824),(-38.323,-10.51),(-38.595,-10.582),(-38.774,-9.892),(-39.131,-9.981),(-38.951,-10.679),(-39.231,-10.753),(-39.412,-10.051),(-39.759,-10.138),(-39.576,-10.846),(-39.869,-10.923),(-40.053,-10.211),(-40.392,-10.296),(-40.206,-11.015),(-40.512,-11.095),(-40.699,-10.372),(-41.028,-10.454),(-40.84,-11.185),(-41.157,-11.268),(-41.346,-10.533),(-41.667,-10.613),(-41.475,-11.355),(-41.805,-11.442),(-41.998,-10.696),(-42.308,-10.773),(-42.114,-11.526),(-42.456,-11.616),(-42.651,-10.859),(-42.953,-10.934),(-42.756,-11.698),(-43.11,-11.791),(-43.308,-11.023),(-43.602,-11.096),(-43.401,-11.871),(-43.767,-11.968),(-43.97,-11.188),(-44.253,-11.258),(-44.049,-12.045),(-44.429,-12.146),(-44.634,-11.353),(-44.908,-11.422),(-44.701,-12.219),(-45.094,-12.323),(-45.302,-11.52),(-45.565,-11.585),(-45.356,-12.395),(-45.761,-12.502),(-45.972,-11.687),(-46.226,-11.75),(-46.014,-12.571),(-46.433,-12.681),(-46.646,-11.855),(-46.89,-11.916),(-46.675,-12.748),(-47.107,-12.861),(-47.324,-12.024),(-47.557,-12.082),(-47.339,-12.926),(-47.785,-13.044),(-48.004,-12.194),(-48.228,-12.249),(-48.007,-13.105),(-48.467,-13.226),(-48.69,-12.364),(-48.902,-12.417),(-48.678,-13.285),(-49.153,-13.41),(-49.378,-12.536),(-49.581,-12.587),(-49.353,-13.466),(-49.841,-13.595),(-50.071,-12.709),(-50.262,-12.756),(-50.031,-13.648),(-50.534,-13.78),(-50.767,-12.882),(-50.947,-12.927),(-50.713,-13.83),(-51.231,-13.967),(-51.467,-13.057),(-51.636,-13.099),(-51.399,-14.014),(-51.932,-14.154),(-52.171,-13.233),(-52.328,-13.272),(-52.089,-14.199),(-52.637,-14.343),(-52.878,-13.409),(-53.025,-13.445),(-52.782,-14.385),(-53.346,-14.534),(-53.591,-13.587),(-53.726,-13.62),(-53.48,-14.572),(-54.059,-14.724),(-54.307,-13.765),(-54.429,-13.795),(-54.18,-14.759),(-54.776,-14.916),(-55.027,-13.945)])
soi220_cband_te_strip_ap.add(gdstk.Reference(text_gdsfactorypcomponen, (-67.139,-24.154)))

lib.write_gds('SOI220_cband_TE_strip_apodized_GC_focusing_EBL_v1p2.gds')
